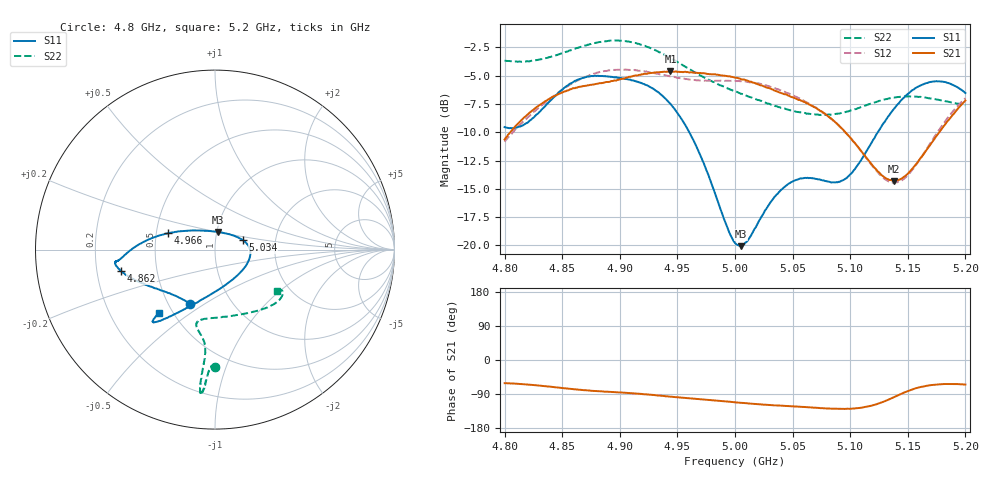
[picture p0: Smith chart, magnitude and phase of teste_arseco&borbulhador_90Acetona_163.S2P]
! Network Analyzer HP8722D
! Hewlett-Packard
! Data name: Linha & Wilkinson
! Saver's name: Rodrigo Anjos
! Comments: Teste da utilização de aquisição
! continua pelo VNA HP8722D
! Time and date: 17/4/2025 12:24
!  Frequency  S11  S21  S12  S22
# HZ  S  MA R 50
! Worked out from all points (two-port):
!   401 points, 4.8 GHz to 5.2 GHz, reference 50 ohm
!   highest |S21| = -4.61 dB at 4.944 GHz (marker M1); lowest = -14.3 dB at 5.138 GHz (marker M2)
!   |S21| within 3 dB of the highest: 4.83 GHz to 5.066 GHz (235.8 MHz wide, 4.77 % of centre); 5.196123 GHz to end of sweep
!   lowest |S11| = -20.1 dB at 5.005 GHz (marker M3), VSWR 1.22, Z = 50.7 + j10 ohm
!   |S11| at or under -10 dB: 4.96 GHz to 5.124 GHz (163.6 MHz wide, 3.24 % of centre)
!   |S22| runs from -8.5 to -1.9 dB; largest |S21 - S12| = 0.88
!   S11 on the Smith chart (normalised r, x): 4.8 GHz: 0.64, -0.44; 4.862 GHz: 0.31, -0.10; 4.966 GHz: 0.58, +0.11; 5.034 GHz: 1.35, +0.15; 5.2 GHz: 0.42, -0.38
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4.8e9  0.3334 -114.4  0.2938 -61.1  0.2872 -175.5  0.6561 -90.0
4.819e9  0.3475 -134.4  0.3753 -64.6  0.3631 -174.1  0.6511 -91.7
4.862e9  0.5357 -167.0  0.4981 -77.6  0.5314 -177.4  0.7442 -94.1
4.867e9  0.5479 -168.8  0.5045 -79.1  0.5477 -178.4  0.7572 -94.2
4.899e9  0.5497 -173.3  0.5395 -85.6  0.5978 175.1  0.8038 -95.6
4.934e9  0.4731 -179.5  0.5824 -94.0  0.5725 171.6  0.7144 -96.1
4.944e9  0.4221 175.9  0.588 -96.7  0.5587 171.5  0.6734 -95.8
4.966e9  0.277 160.9  0.5797 -102.5  0.5371 173.5  0.5785 -95.3
5e9  0.1026 97.8  0.5511 -111.6  0.5344 175.7  0.479 -99.6
5.005e9  0.09926 80.4  0.5436 -113.0  0.5319 175.7  0.468 -100.8
5.012e9  0.1069 58.4  0.5318 -114.6  0.5269 175.5  0.4544 -102.2
5.034e9  0.1632 19.4  0.4841 -119.8  0.4965 174.5  0.4143 -103.9
5.05e9  0.1917 3.2  0.4522 -122.3  0.4606 173.8  0.394 -99.8
5.067e9  0.1982 -14.8  0.4135 -125.4  0.4151 173.4  0.38 -90.7
5.086e9  0.1902 -44.9  0.3547 -128.7  0.3525 173.2  0.3804 -76.4
5.097e9  0.1988 -67.6  0.3116 -129.0  0.3117 174.5  0.3903 -67.2
5.134e9  0.3771 -117.6  0.1946 -103.5  0.1912 -156.4  0.4467 -43.2
5.138e9  0.4021 -120.0  0.1926 -98.0  0.1895 -150.1  0.4497 -41.4
5.15e9  0.4671 -125.3  0.2074 -82.2  0.2045 -131.8  0.4556 -36.9
5.17e9  0.5279 -129.9  0.2806 -66.3  0.2855 -112.5  0.4465 -32.3
5.184e9  0.524 -131.2  0.3519 -63.3  0.3631 -107.6  0.433 -31.4
5.2e9  0.4717 -131.6  0.4368 -64.7  0.4473 -106.9  0.4165 -33.8
